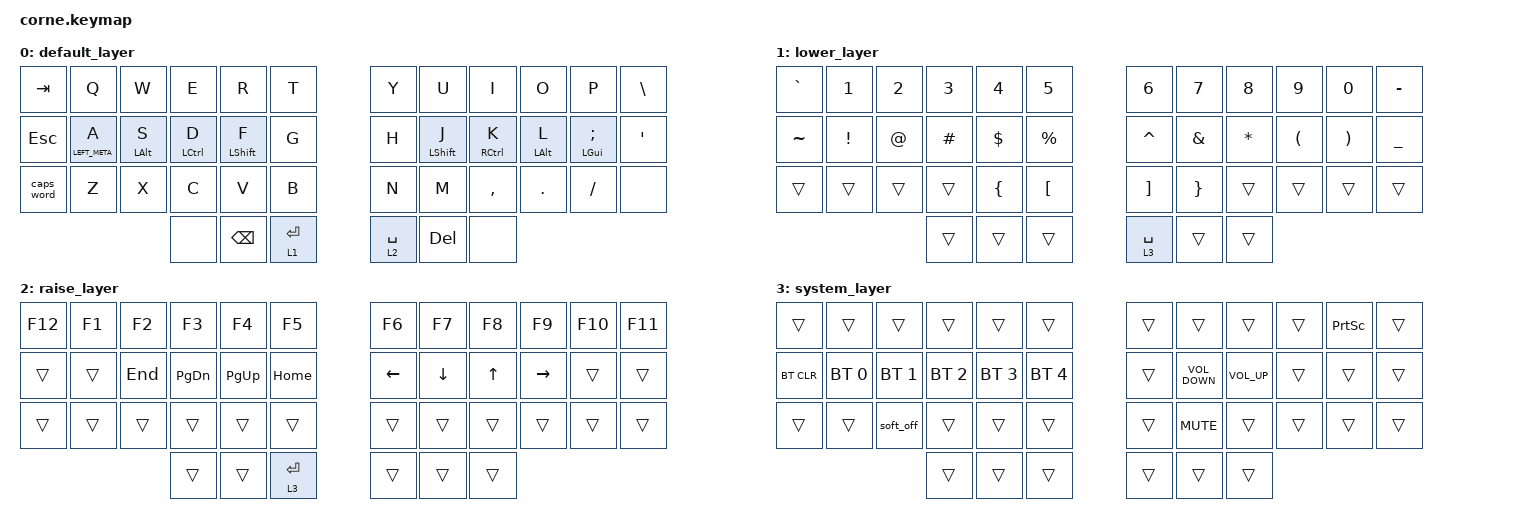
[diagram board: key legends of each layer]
#include <behaviors.dtsi>
#include <dt-bindings/zmk/bt.h>
#include <dt-bindings/zmk/keys.h>

&lt { flavor = "hold-preferred"; };

/ {
    keymap {
        compatible = "zmk,keymap";

        default_layer {
            bindings = <
                &kp TAB     &kp Q            &kp W           &kp E        &kp R             &kp T          &kp Y        &kp U             &kp I        &kp O           &kp P              &kp BACKSLASH
                &kp ESCAPE  &mt LEFT_META A  &mt LEFT_ALT S  &mt LCTRL D  &mt LEFT_SHIFT F  &kp G          &kp H        &mt LEFT_SHIFT J  &mt RCTRL K  &mt LEFT_ALT L  &mt LEFT_GUI SEMI  &kp SQT
                &caps_word  &kp Z            &kp X           &kp C        &kp V             &kp B          &kp N        &kp M             &kp COMMA    &kp DOT         &kp FSLH           &none
                &none        &kp BACKSPACE     &lt 1 ENTER    &lt 2 SPACE  &kp DELETE        &none
            >;
        };

        lower_layer {
            bindings = <
                &kp GRAVE  &kp N1           &kp N2  &kp N3    &kp N4          &kp N5              &kp N6             &kp N7           &kp N8        &kp N9                &kp N0                 &kp MINUS
                &kp TILDE  &kp EXCLAMATION  &kp AT  &kp HASH  &kp DOLLAR      &kp PERCENT         &kp CARET          &kp AMPERSAND    &kp ASTERISK  &kp LEFT_PARENTHESIS  &kp RIGHT_PARENTHESIS  &kp UNDERSCORE
                &trans     &trans           &trans  &trans    &kp LEFT_BRACE  &kp LEFT_BRACKET    &kp RIGHT_BRACKET  &kp RIGHT_BRACE  &trans        &trans                &trans                 &trans
                &trans    &trans          &trans              &lt 3 SPACE        &trans           &trans
            >;
        };

        raise_layer {
            bindings = <
                &kp F12  &kp F1  &kp F2   &kp F3     &kp F4     &kp F5         &kp F6    &kp F7    &kp F8        &kp F9     &kp F10  &kp F11
                &trans   &trans  &kp END  &kp PG_DN  &kp PG_UP  &kp HOME       &kp LEFT  &kp DOWN  &kp UP_ARROW  &kp RIGHT  &trans   &trans
                &trans   &trans  &trans   &trans     &trans     &trans         &trans    &trans    &trans        &trans     &trans   &trans
                &trans     &trans     &lt 3 ENTER    &trans    &trans    &trans
            >;
        };

        system_layer {
            bindings = <
                &trans      &trans        &trans        &trans        &trans        &trans          &trans  &trans             &trans           &trans  &kp PRINTSCREEN  &trans
                &bt BT_CLR  &bt BT_SEL 0  &bt BT_SEL 1  &bt BT_SEL 2  &bt BT_SEL 3  &bt BT_SEL 4    &trans  &kp C_VOLUME_DOWN  &kp C_VOLUME_UP  &trans  &trans           &trans
                &trans      &trans        &soft_off     &trans        &trans        &trans          &trans  &kp C_MUTE         &trans           &trans  &trans           &trans
                &trans        &trans        &trans          &trans  &trans             &trans
            >;
        };
    };
};
